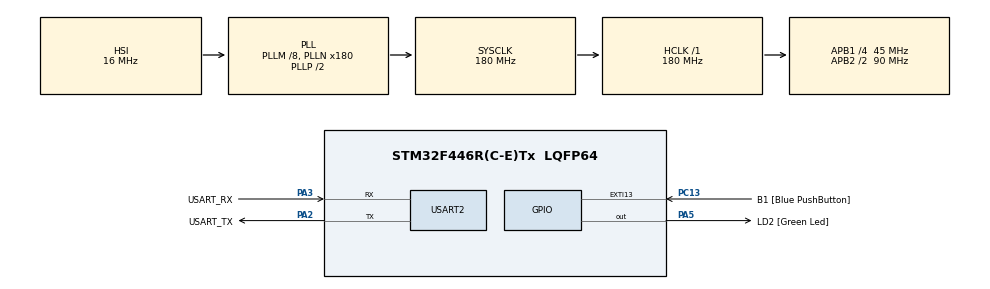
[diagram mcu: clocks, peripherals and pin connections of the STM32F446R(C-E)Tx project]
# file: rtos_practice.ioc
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FREERTOS.Tasks01=defaultTask,24,128,StartDefaultTask,Default,NULL,Dynamic,NULL,NULL
FREERTOS.configCHECK_FOR_STACK_OVERFLOW=2
FREERTOS.configENABLE_FPU=1
FREERTOS.configTOTAL_HEAP_SIZE=30720
FREERTOS.configUSE_MALLOC_FAILED_HOOK=1
Mcu.Family=STM32F4
Mcu.Name=STM32F446R(C-E)Tx
Mcu.Package=LQFP64
NVIC.PriorityGroup=NVIC_PRIORITYGROUP_4
NVIC.TIM6_DAC_IRQn=true\:15\:0\:false\:false\:true\:false\:false\:true\:true
NVIC.TimeBase=TIM6_DAC_IRQn
NVIC.TimeBaseIP=TIM6
PA13.GPIO_Label=TMS
PA13.Mode=Serial_Wire
PA13.Signal=SYS_JTMS-SWDIO
PA14.GPIO_Label=TCK
PA14.Mode=Serial_Wire
PA14.Signal=SYS_JTCK-SWCLK
PA2.GPIO_Label=USART_TX
PA2.Mode=Asynchronous
PA2.Signal=USART2_TX
PA3.GPIO_Label=USART_RX
PA3.Mode=Asynchronous
PA3.Signal=USART2_RX
PA5.GPIO_Label=LD2 [Green Led]
PA5.Signal=GPIO_Output
PB3.GPIO_Label=SWO
PB3.Signal=SYS_JTDO-SWO
PC13.GPIO_Label=B1 [Blue PushButton]
PC13.GPIO_ModeDefaultEXTI=GPIO_MODE_IT_FALLING
PC13.Signal=GPXTI13
PC14-OSC32_IN.Mode=LSE-External-Oscillator
PC14-OSC32_IN.Signal=RCC_OSC32_IN
PC15-OSC32_OUT.Mode=LSE-External-Oscillator
PC15-OSC32_OUT.Signal=RCC_OSC32_OUT
PH0-OSC_IN.Mode=HSE-External-Oscillator
PH0-OSC_IN.Signal=RCC_OSC_IN
PH1-OSC_OUT.Mode=HSE-External-Oscillator
PH1-OSC_OUT.Signal=RCC_OSC_OUT
ProjectManager.HeapSize=0x200
ProjectManager.StackSize=0x400
ProjectManager.TargetToolchain=CMake
RCC.48MHZClocksFreq_Value=84000000
RCC.AHBFreq_Value=180000000
RCC.APB1CLKDivider=RCC_HCLK_DIV4
RCC.APB1Freq_Value=45000000
RCC.APB1TimFreq_Value=90000000
RCC.APB2CLKDivider=RCC_HCLK_DIV2
RCC.APB2Freq_Value=90000000
RCC.APB2TimFreq_Value=180000000
RCC.CortexFreq_Value=180000000
RCC.FLatency-AdvancedSettings=FLASH_LATENCY_5
RCC.HCLKFreq_Value=180000000
RCC.HSE_VALUE=8000000
RCC.HSI_VALUE=16000000
RCC.PLLM=8
RCC.PLLN=180
RCC.SYSCLKFreq_VALUE=180000000
RCC.SYSCLKSource=RCC_SYSCLKSOURCE_PLLCLK
RCC.USBFreq_Value=180000000
RCC.VCOOutputFreq_Value=360000000
USART2.VirtualMode=VM_ASYNC
VP_FREERTOS_VS_CMSIS_V2.Mode=CMSIS_V2
VP_SYS_VS_tim6.Mode=TIM6
board=NUCLEO-F446RE

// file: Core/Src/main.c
/* USER CODE BEGIN Header */
/**
  ******************************************************************************
  * @file           : main.c
  * @brief          : Main program body
  ******************************************************************************
  * @attention
  *
  * Copyright (c) 2026 STMicroelectronics.
  * All rights reserved.
  *
  * This software is licensed under terms that can be found in the LICENSE file
  * in the root directory of this software component.
  * If no LICENSE file comes with this software, it is provided AS-IS.
  *
  ******************************************************************************
  */
/* USER CODE END Header */
#include "main.h"
#include "cmsis_os.h"

/* USER CODE BEGIN Includes */
#include <stdio.h>
#include <string.h>

/* USER CODE END Includes */

/* USER CODE BEGIN PD */
/*
 * 실습용 주기 정의
 * - LED task는 500ms마다 LD2를 토글
 * - UART task는 1000ms마다 현재 상태를 문자열로 출력
 */
#define LED_TASK_DELAY_MS   500U
#define UART_TASK_DELAY_MS  1000U

/* USER CODE END PD */

UART_HandleTypeDef huart2;

/* Definitions for defaultTask */
osThreadId_t defaultTaskHandle;
const osThreadAttr_t defaultTask_attributes = {
  .name = "defaultTask",
  .stack_size = 128 * 4,
  .priority = (osPriority_t) osPriorityNormal,
};
/* USER CODE BEGIN PV */
/* 추가 실습 task handle */
osThreadId_t ledTaskHandle;
osThreadId_t uartTaskHandle;

/*
 * task 속성 정의
 * - name: 디버깅 시 thread 이름으로 보임
 * - stack_size: 각 task에 할당할 스택 크기(Byte 단위)
 * - priority: 스케줄러가 task를 어떤 우선순위로 실행할지 결정
 */
const osThreadAttr_t ledTask_attributes = {
  .name = "ledTask",
  .stack_size = 128 * 4,
  .priority = (osPriority_t) osPriorityLow,
};

const osThreadAttr_t uartTask_attributes = {
  .name = "uartTask",
  .stack_size = 256 * 4,
  .priority = (osPriority_t) osPriorityBelowNormal,
};

/*
 * 실습 관찰용 카운터
 * - led_toggle_count: LED task가 몇 번 실행되었는지 확인
 * - uart_log_count : UART task가 몇 번 로그를 출력했는지 확인
 */
volatile uint32_t led_toggle_count = 0;
volatile uint32_t uart_log_count = 0;

/* USER CODE END PV */

void SystemClock_Config(void);
static void MX_GPIO_Init(void);
static void MX_USART2_UART_Init(void);
void StartDefaultTask(void *argument);
void StartLedTask(void *argument);
void StartUartTask(void *argument);

/* USER CODE BEGIN PFP */
static void DebugPrint(const char *message);

/* USER CODE END PFP */

/* USER CODE BEGIN 0 */
/*
 * 간단한 UART 문자열 출력 helper.
 * printf retarget 없이도 고정 문자열을 바로 USART2로 내보낼 수 있게 만든 함수.
 */
static void DebugPrint(const char *message)
{
  HAL_UART_Transmit(&huart2, (uint8_t *)message, strlen(message), HAL_MAX_DELAY);
}

/* USER CODE END 0 */

int main(void)
{

  /* MCU Configuration--------------------------------------------------------*/

  /* Reset of all peripherals, Initializes the Flash interface and the Systick. */
  HAL_Init();

  /* Configure the system clock */
  SystemClock_Config();

  /* Initialize all configured peripherals */
  MX_GPIO_Init();
  MX_USART2_UART_Init();

  /*
   * FreeRTOS 커널 초기화.
   * 이 시점부터 mutex / semaphore / queue / thread 같은 RTOS 객체를 만들 수 있다.
   * 아직 스케줄러는 시작되지 않았으므로 task가 실행되지는 않는다.
   */
  osKernelInitialize();

  /* Create the thread(s) */
  /* creation of defaultTask */
  defaultTaskHandle = osThreadNew(StartDefaultTask, NULL, &defaultTask_attributes);

  /* USER CODE BEGIN RTOS_THREADS */
  /*
   * 실습용 task 2개 생성
   * - ledTask : 주기적으로 LD2 LED 토글
   * - uartTask: 주기적으로 시스템 상태를 UART로 출력
   */
  ledTaskHandle = osThreadNew(StartLedTask, NULL, &ledTask_attributes);
  uartTaskHandle = osThreadNew(StartUartTask, NULL, &uartTask_attributes);
  /* USER CODE END RTOS_THREADS */

  /*
   * 스케줄러 시작.
   * 여기서부터는 준비된 task들이 우선순위와 delay 조건에 따라 번갈아 실행된다.
   * 정상 동작 시 main의 while(1)로 다시 돌아오지 않는다.
   */
  osKernelStart();

  /* We should never get here as control is now taken by the scheduler */

  /* Infinite loop */
  while (1)
  {

  }
}

void SystemClock_Config(void)
{
  RCC_OscInitTypeDef RCC_OscInitStruct = {0};
  RCC_ClkInitTypeDef RCC_ClkInitStruct = {0};

  /** Configure the main internal regulator output voltage
  */
  __HAL_RCC_PWR_CLK_ENABLE();
  __HAL_PWR_VOLTAGESCALING_CONFIG(PWR_REGULATOR_VOLTAGE_SCALE1);

  /** Initializes the RCC Oscillators according to the specified parameters
  * in the RCC_OscInitTypeDef structure.
  */
  RCC_OscInitStruct.OscillatorType = RCC_OSCILLATORTYPE_HSI;
  RCC_OscInitStruct.HSIState = RCC_HSI_ON;
  RCC_OscInitStruct.HSICalibrationValue = RCC_HSICALIBRATION_DEFAULT;
  RCC_OscInitStruct.PLL.PLLState = RCC_PLL_ON;
  RCC_OscInitStruct.PLL.PLLSource = RCC_PLLSOURCE_HSI;
  RCC_OscInitStruct.PLL.PLLM = 8;
  RCC_OscInitStruct.PLL.PLLN = 180;
  RCC_OscInitStruct.PLL.PLLP = RCC_PLLP_DIV2;
  RCC_OscInitStruct.PLL.PLLQ = 2;
  RCC_OscInitStruct.PLL.PLLR = 2;
  if (HAL_RCC_OscConfig(&RCC_OscInitStruct) != HAL_OK)
  {
    Error_Handler();
  }

  /** Activate the Over-Drive mode
  */
  if (HAL_PWREx_EnableOverDrive() != HAL_OK)
  {
    Error_Handler();
  }

  /** Initializes the CPU, AHB and APB buses clocks
  */
  RCC_ClkInitStruct.ClockType = RCC_CLOCKTYPE_HCLK|RCC_CLOCKTYPE_SYSCLK
                              |RCC_CLOCKTYPE_PCLK1|RCC_CLOCKTYPE_PCLK2;
  RCC_ClkInitStruct.SYSCLKSource = RCC_SYSCLKSOURCE_PLLCLK;
  RCC_ClkInitStruct.AHBCLKDivider = RCC_SYSCLK_DIV1;
  RCC_ClkInitStruct.APB1CLKDivider = RCC_HCLK_DIV4;
  RCC_ClkInitStruct.APB2CLKDivider = RCC_HCLK_DIV2;

  if (HAL_RCC_ClockConfig(&RCC_ClkInitStruct, FLASH_LATENCY_5) != HAL_OK)
  {
    Error_Handler();
  }
}

static void MX_USART2_UART_Init(void)
{

  huart2.Instance = USART2;
  huart2.Init.BaudRate = 115200;
  huart2.Init.WordLength = UART_WORDLENGTH_8B;
  huart2.Init.StopBits = UART_STOPBITS_1;
  huart2.Init.Parity = UART_PARITY_NONE;
  huart2.Init.Mode = UART_MODE_TX_RX;
  huart2.Init.HwFlowCtl = UART_HWCONTROL_NONE;
  huart2.Init.OverSampling = UART_OVERSAMPLING_16;
  if (HAL_UART_Init(&huart2) != HAL_OK)
  {
    Error_Handler();
  }

}

static void MX_GPIO_Init(void)
{
  GPIO_InitTypeDef GPIO_InitStruct = {0};

  /* GPIO Ports Clock Enable */
  __HAL_RCC_GPIOC_CLK_ENABLE();
  __HAL_RCC_GPIOH_CLK_ENABLE();
  __HAL_RCC_GPIOA_CLK_ENABLE();
  __HAL_RCC_GPIOB_CLK_ENABLE();

  /*Configure GPIO pin Output Level */
  HAL_GPIO_WritePin(LD2_GPIO_Port, LD2_Pin, GPIO_PIN_RESET);

  /*Configure GPIO pin : B1_Pin */
  GPIO_InitStruct.Pin = B1_Pin;
  GPIO_InitStruct.Mode = GPIO_MODE_IT_FALLING;
  GPIO_InitStruct.Pull = GPIO_NOPULL;
  HAL_GPIO_Init(B1_GPIO_Port, &GPIO_InitStruct);

  /*Configure GPIO pin : LD2_Pin */
  GPIO_InitStruct.Pin = LD2_Pin;
  GPIO_InitStruct.Mode = GPIO_MODE_OUTPUT_PP;
  GPIO_InitStruct.Pull = GPIO_NOPULL;
  GPIO_InitStruct.Speed = GPIO_SPEED_FREQ_LOW;
  HAL_GPIO_Init(LD2_GPIO_Port, &GPIO_InitStruct);

}

void StartDefaultTask(void *argument)
{
  /* USER CODE BEGIN 5 */
  /*
   * defaultTask는 CubeMX가 기본으로 만들어주는 task.
   * 이번 실습에서는 "스케줄러 시작 확인용" 정도의 최소 역할만 맡긴다.
   */
  DebugPrint("\r\n[defaultTask] FreeRTOS scheduler started.\r\n");

  /* Infinite loop */
  for(;;)
  {
    /*
     * 의미 없는 바쁜 루프를 돌지 않도록 충분히 sleep.
     * osDelay() 동안은 CPU를 점유하지 않고 다른 task가 실행될 수 있다.
     */
    osDelay(5000);
  }
  /* USER CODE END 5 */
}

/* USER CODE BEGIN Header_StartLedTask */
/**
  * @brief Blink LD2 periodically to show independent RTOS task execution.
  * @param argument: Not used
  * @retval None
  */
/* USER CODE END Header_StartLedTask */
void StartLedTask(void *argument)
{
  /* USER CODE BEGIN StartLedTask */
  for(;;)
  {
    /* 보드 내장 LED(LD2)를 반전시켜 점멸 효과를 만든다. */
    HAL_GPIO_TogglePin(LD2_GPIO_Port, LD2_Pin);

    /* task가 몇 번 주기 실행되었는지 관찰하기 위한 카운터 */
    led_toggle_count++;

    /* 지정한 시간만큼 block 상태로 들어가고, 그동안 다른 task가 실행된다. */
    osDelay(LED_TASK_DELAY_MS);
  }
  /* USER CODE END StartLedTask */
}

/* USER CODE BEGIN Header_StartUartTask */
/**
  * @brief Periodically print RTOS activity over USART2.
  * @param argument: Not used
  * @retval None
  */
/* USER CODE END Header_StartUartTask */
void StartUartTask(void *argument)
{
  /* USER CODE BEGIN StartUartTask */
  char tx_buf[128];

  /* UART 로그 task 시작 메시지 */
  DebugPrint("[uartTask] USART2 logging started at 115200 baud.\r\n");

  for(;;)
  {
    /* UART task 실행 횟수 누적 */
    uart_log_count++;

    /*
     * HAL_GetTick(): 시스템 tick 기반 시간(ms)
     * led_toggle_count: LED task가 실제로 얼마나 돌았는지 확인 가능
     * uart_log_count : UART task의 주기 실행 여부 확인 가능
     */
    int len = snprintf(tx_buf, sizeof(tx_buf),
                       "[uartTask] tick=%lu ms, led_toggle_count=%lu, uart_log_count=%lu\r\n",
                       (unsigned long)HAL_GetTick(),
                       (unsigned long)led_toggle_count,
                       (unsigned long)uart_log_count);

    if (len > 0)
    {
      /* 생성된 문자열을 USART2로 그대로 전송 */
      HAL_UART_Transmit(&huart2, (uint8_t *)tx_buf, (uint16_t)len, HAL_MAX_DELAY);
    }

    /* 1초 주기로 상태 로그 출력 */
    osDelay(UART_TASK_DELAY_MS);
  }
  /* USER CODE END StartUartTask */
}

void HAL_TIM_PeriodElapsedCallback(TIM_HandleTypeDef *htim)
{
  if (htim->Instance == TIM6)
  {
    HAL_IncTick();
  }
}

void Error_Handler(void)
{
  __disable_irq();
  while (1)
  {
  }
}
